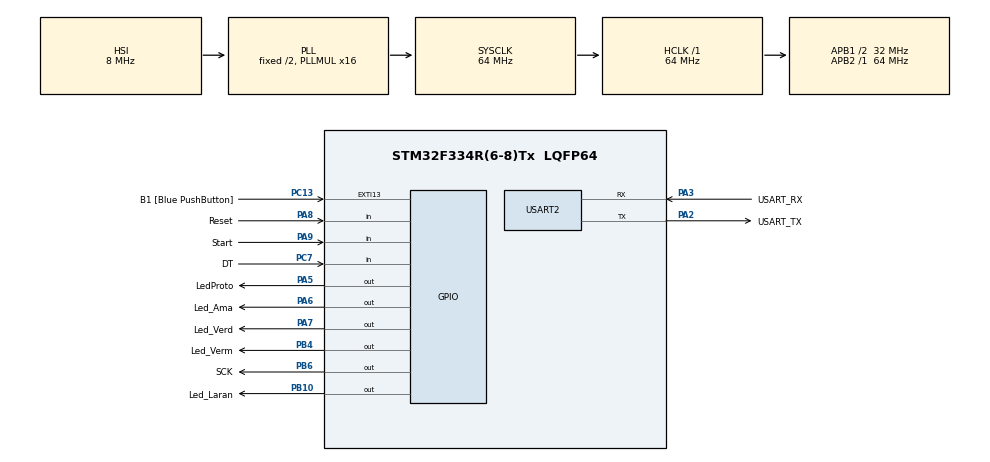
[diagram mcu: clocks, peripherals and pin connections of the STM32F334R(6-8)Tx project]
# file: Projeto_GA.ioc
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Mcu.Family=STM32F3
Mcu.Name=STM32F334R(6-8)Tx
Mcu.Package=LQFP64
NVIC.PriorityGroup=NVIC_PRIORITYGROUP_0
NVIC.RCC_IRQn=true\:0\:0\:false\:false\:true\:true\:false\:true
PA13.GPIO_Label=TMS
PA13.Mode=Serial_Wire
PA13.Signal=SYS_JTMS-SWDIO
PA14.GPIO_Label=TCK
PA14.Mode=Serial_Wire
PA14.Signal=SYS_JTCK-SWCLK
PA2.GPIO_Label=USART_TX
PA2.Mode=Asynchronous
PA2.Signal=USART2_TX
PA3.GPIO_Label=USART_RX
PA3.Mode=Asynchronous
PA3.Signal=USART2_RX
PA5.GPIO_Label=LedProto
PA5.Signal=GPIO_Output
PA6.GPIO_Label=Led_Ama
PA6.Signal=GPIO_Output
PA7.GPIO_Label=Led_Verd
PA7.Signal=GPIO_Output
PA8.GPIO_Label=Reset
PA8.GPIO_PuPd=GPIO_PULLUP
PA8.Signal=GPIO_Input
PA9.GPIO_Label=Start
PA9.GPIO_PuPd=GPIO_PULLUP
PA9.Signal=GPIO_Input
PB10.GPIO_Label=Led_Laran
PB10.Signal=GPIO_Output
PB3.GPIO_Label=SWO
PB3.Signal=SYS_JTDO-TRACESWO
PB4.GPIO_Label=Led_Verm
PB4.Signal=GPIO_Output
PB6.GPIO_Label=SCK
PB6.Signal=GPIO_Output
PC13.GPIO_Label=B1 [Blue PushButton]
PC13.GPIO_ModeDefaultEXTI=GPIO_MODE_IT_FALLING
PC13.Signal=GPXTI13
PC14\ /\ OSC32_IN.Mode=LSE-External-Oscillator
PC14\ /\ OSC32_IN.Signal=RCC_OSC32_IN
PC15\ /\ OSC32_OUT.GPIO_Label=RCC_OSC32_OUT
PC15\ /\ OSC32_OUT.Mode=LSE-External-Oscillator
PC15\ /\ OSC32_OUT.Signal=RCC_OSC32_OUT
PC7.GPIO_Label=DT
PC7.Signal=GPIO_Input
PF0\ /\ OSC_IN.Mode=HSE-External-Clock-Source
PF0\ /\ OSC_IN.Signal=RCC_OSC_IN
PF1\ /\ OSC_OUT.Signal=RCC_OSC_OUT
ProjectManager.HeapSize=0x200
ProjectManager.StackSize=0x400
ProjectManager.TargetToolchain=CMake
RCC.AHBFreq_Value=64000000
RCC.APB1CLKDivider=RCC_HCLK_DIV2
RCC.APB1Freq_Value=32000000
RCC.APB1TimFreq_Value=64000000
RCC.APB2Freq_Value=64000000
RCC.APB2TimFreq_Value=64000000
RCC.CortexFreq_Value=64000000
RCC.FLatency-AdvancedSettings=FLASH_LATENCY_2
RCC.HCLKFreq_Value=64000000
RCC.HSE_VALUE=8000000
RCC.HSI_VALUE=8000000
RCC.PLLMUL=RCC_PLL_MUL16
RCC.SYSCLKFreq_VALUE=64000000
RCC.SYSCLKSourceVirtual=RCC_SYSCLKSOURCE_PLLCLK
USART2.VirtualMode-Asynchronous=VM_ASYNC
board=NUCLEO-F334R8

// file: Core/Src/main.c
/* USER CODE BEGIN Header */
/**
  ******************************************************************************
  * @file           : main.c
  * @brief          : Main program body
  ******************************************************************************
  * @attention
  *
  * Copyright (c) 2026 STMicroelectronics.
  * All rights reserved.
  *
  * This software is licensed under terms that can be found in the LICENSE file
  * in the root directory of this software component.
  * If no LICENSE file comes with this software, it is provided AS-IS.
  *
  ******************************************************************************
  */
/* USER CODE END Header */
#include "main.h"
#include "stm32f3xx_hal.h"
#include "usart.h"
#include "gpio.h"

/* USER CODE BEGIN Includes */
#include <stdint.h>
#include <stdio.h>
#include <stdbool.h>
#include <string.h>
#include "hx711.h"
/* USER CODE END Includes */

/* USER CODE BEGIN PTD */
typedef struct {
  float Tempo;
  float Factor_Calibration;
  bool FirstEntry;
} Contexto;

typedef enum {
    EST_SETUP,
    EST_START,
    EST_TimerLedPeso,
    EST_CalcPrint_Peso,
} EstadoID;

typedef EstadoID Estadofunc(Contexto *ctx);
/* USER CODE END PTD */

/* USER CODE BEGIN PD */
#define SAMPLES 10
/* USER CODE END PD */

/* USER CODE BEGIN PM */
HX711_Handle_t hx;
/* USER CODE END PM */

/* USER CODE BEGIN PV */
uint16_t debounceDelay = 100;
uint32_t LastStartTime = 0;
uint32_t LastResetTime = 0;

bool StartTimer = false;

volatile uint8_t i = 0;

bool lastBtnStartState = true;
bool lastBtnResetState = true;
/* USER CODE END PV */

void SystemClock_Config(void);

/* USER CODE BEGIN 0 */

// -------** Habilita o uso do printf para enviar dados pelo UART **-------
// (Não estou considerando como requisito, mas sim para comunicar com o computador e utilizar o printf)
void _write(int file, char *ptr, int len) {
  // Transmit the data over UART
  HAL_UART_Transmit(&huart2, (uint8_t*)ptr, len, HAL_MAX_DELAY);
}

//----------**Declaração de funções**----------

//Função - Cronometro
float Cronometro(uint32_t startTime){
  static uint32_t NewTime = 0;
  static float FinalTime = 0.0f;

  if(startTime){
    if(NewTime == 0){
      NewTime = HAL_GetTick();
    }

    uint32_t currentTime = HAL_GetTick();
    FinalTime = (currentTime - NewTime) / 1000.0f;
  }else{
    NewTime = 0;
  }

   return FinalTime;
}

//Função - Debounce Btn
bool BtnDebounce(bool currentState, bool *stableState, uint32_t *lastChangeTime, uint32_t debounceDelay){
  uint32_t now = HAL_GetTick();

  if (currentState != *stableState) {
    if ((now - *lastChangeTime) >= debounceDelay) {
      *stableState = currentState;
      *lastChangeTime = now;

      if (currentState == false) {
        return true;
      }
    }
  }else{
    *lastChangeTime = now;
  }

  return false;
}

//Função - Leds
void LedOn(GPIO_TypeDef* GPIO_Port, uint16_t GPIO_Pin){
  HAL_GPIO_WritePin(GPIO_Port, GPIO_Pin, GPIO_PIN_SET);
}

void LedOff(GPIO_TypeDef* GPIO_Port, uint16_t GPIO_Pin){
  HAL_GPIO_WritePin(GPIO_Port, GPIO_Pin, GPIO_PIN_RESET);
}

void Leds(float Weight){
  if(Weight > 989.0f){
    LedOn(Led_Verd_GPIO_Port, Led_Verd_Pin);
  }else if(Weight > 500.0f){
    LedOn(Led_Ama_GPIO_Port, Led_Ama_Pin);
  }else if(Weight > 200.0f){
    LedOn(Led_Laran_GPIO_Port, Led_Laran_Pin);
  }else{
    LedOn(Led_Verm_GPIO_Port, Led_Verm_Pin);
  }
}

//----------**Máquina de estados**----------

EstadoID setup(Contexto *ctx){
  ctx->Tempo = 0.0f;
  ctx->Factor_Calibration = 420.6f;
  ctx->FirstEntry = true;
  return EST_START;
}

EstadoID start(Contexto *ctx){
  bool btnPressed = (HAL_GPIO_ReadPin(Start_GPIO_Port, Start_Pin) != GPIO_PIN_RESET);

  //Start button
  if (BtnDebounce(btnPressed, &lastBtnStartState, &LastStartTime, debounceDelay)){
    return EST_TimerLedPeso;
  }

  HAL_GPIO_WritePin(LedProto_GPIO_Port, LedProto_Pin, GPIO_PIN_RESET);

  return EST_START;
}

EstadoID tlp(Contexto *ctx){
  bool btnPressed = (HAL_GPIO_ReadPin(Reset_GPIO_Port, Reset_Pin) != GPIO_PIN_RESET);

  if(ctx->FirstEntry){
    printf("AGUARDE A TARA SER REALIZADA - NÃO COLOQUE NENHUM PESO NO SENSOR DURANTE ESTE PROCESSO.\r\n");
    Cronometro(true);
    ctx->FirstEntry = false;
    HX711_Tare(&hx, SAMPLES); //Tare Function - Poderia ser incluida no setup,
                                          //mas não me percebi na primeira instancia.
    printf("TARA REALIZADA - Iniciando contagem de tempo e leitura do peso.\r\n");
  }

  float weight = HX711_GetWeight(&hx, SAMPLES, ctx->Factor_Calibration);
  printf("Peso: %.2f g\r\n", weight);
  Leds(weight);

  HAL_Delay(500); //Delay para evitar leituras muito rápidas e permitir a visualização dos LEDs
  if(weight > 990.0f){
    LedOff(Led_Verd_GPIO_Port, Led_Verd_Pin);
    LedOff(Led_Ama_GPIO_Port, Led_Ama_Pin);
    LedOff(Led_Laran_GPIO_Port, Led_Laran_Pin);
    LedOff(Led_Verm_GPIO_Port, Led_Verm_Pin);
    return EST_CalcPrint_Peso;
  }

  //Reset button
  if (BtnDebounce(btnPressed, &lastBtnResetState, &LastResetTime, debounceDelay)){
    printf("BOTÃO RESET PRESSIONADO - TLP - Resetando a máquina lógica.\r\n");
    ctx->FirstEntry = true;

    return EST_START;
  }

  return EST_TimerLedPeso;
}

EstadoID cpp(Contexto *ctx){
  printf("Tempo Final: %.2f s\r\n", Cronometro(true));
  Cronometro(false);
  ctx->FirstEntry = true;
  HAL_Delay(1000); //Delay para garantir que a mensagem seja transmitida antes de resetar o sistema
  printf("CÁLCULO E IMPRESSÃO DO PESO REALIZADOS - Resetando a máquina lógica.\r\n");

  return EST_START;
}

/* USER CODE END 0 */

int main(void)
{

  /* MCU Configuration--------------------------------------------------------*/

  /* Reset of all peripherals, Initializes the Flash interface and the Systick. */
  HAL_Init();

  /* Configure the system clock */
  SystemClock_Config();

  /* Initialize all configured peripherals */
  MX_GPIO_Init();
  MX_USART2_UART_Init();
  /* USER CODE BEGIN 2 */
  Contexto meuContexto = {0};
  EstadoID estadoAtual = EST_SETUP;

  Estadofunc *tabela_estados[] = {
    [EST_SETUP] = setup,
    [EST_START] = start,
    [EST_TimerLedPeso] = tlp,
    [EST_CalcPrint_Peso] = cpp
  };

  //Configurações do HX711
  hx.dt_Port  = DT_GPIO_Port;
  hx.dt_Pin   = DT_Pin;
  hx.sck_Port = SCK_GPIO_Port;
  hx.sck_Pin  = SCK_Pin;
  hx.gain     = HX711_GAIN_128;
  /* USER CODE END 2 */

  /* Infinite loop */
  while (1)
  {

    /* USER CODE BEGIN 3 */
    estadoAtual = tabela_estados[estadoAtual](&meuContexto);
  }
  /* USER CODE END 3 */
}

void SystemClock_Config(void)
{
  RCC_OscInitTypeDef RCC_OscInitStruct = {0};
  RCC_ClkInitTypeDef RCC_ClkInitStruct = {0};

  /** Initializes the RCC Oscillators according to the specified parameters
  * in the RCC_OscInitTypeDef structure.
  */
  RCC_OscInitStruct.OscillatorType = RCC_OSCILLATORTYPE_HSI;
  RCC_OscInitStruct.HSIState = RCC_HSI_ON;
  RCC_OscInitStruct.HSICalibrationValue = RCC_HSICALIBRATION_DEFAULT;
  RCC_OscInitStruct.PLL.PLLState = RCC_PLL_ON;
  RCC_OscInitStruct.PLL.PLLSource = RCC_PLLSOURCE_HSI;
  RCC_OscInitStruct.PLL.PLLMUL = RCC_PLL_MUL16;
  if (HAL_RCC_OscConfig(&RCC_OscInitStruct) != HAL_OK)
  {
    Error_Handler();
  }

  /** Initializes the CPU, AHB and APB buses clocks
  */
  RCC_ClkInitStruct.ClockType = RCC_CLOCKTYPE_HCLK|RCC_CLOCKTYPE_SYSCLK
                              |RCC_CLOCKTYPE_PCLK1|RCC_CLOCKTYPE_PCLK2;
  RCC_ClkInitStruct.SYSCLKSource = RCC_SYSCLKSOURCE_PLLCLK;
  RCC_ClkInitStruct.AHBCLKDivider = RCC_SYSCLK_DIV1;
  RCC_ClkInitStruct.APB1CLKDivider = RCC_HCLK_DIV2;
  RCC_ClkInitStruct.APB2CLKDivider = RCC_HCLK_DIV1;

  if (HAL_RCC_ClockConfig(&RCC_ClkInitStruct, FLASH_LATENCY_2) != HAL_OK)
  {
    Error_Handler();
  }
}

void Error_Handler(void)
{
  __disable_irq();
  while (1)
  {
  }
}
